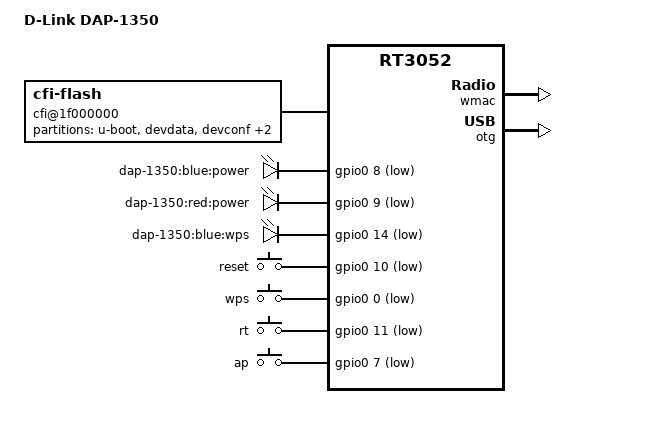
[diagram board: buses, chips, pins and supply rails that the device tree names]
/dts-v1/;

#include "rt3050.dtsi"

#include <dt-bindings/gpio/gpio.h>
#include <dt-bindings/input/input.h>

/ {
	compatible = "dlink,dap-1350", "ralink,rt3052-soc";
	model = "D-Link DAP-1350";

	aliases {
		led-boot = &led_power_blue;
		led-failsafe = &led_power_blue;
		led-running = &led_power_blue;
		led-upgrade = &led_power_blue;
	};

	chosen {
		bootargs = "console=ttyS0,115200";
	};

	cfi@1f000000 {
		compatible = "cfi-flash";
		reg = <0x1f000000 0x800000>;
		bank-width = <2>;
		device-width = <2>;

		partitions {
			compatible = "fixed-partitions";
			#address-cells = <1>;
			#size-cells = <1>;

			partition@0 {
				label = "u-boot";
				reg = <0x0 0x30000>;
				read-only;
			};

			devdata: partition@30000 {
				label = "devdata";
				reg = <0x30000 0x10000>;
				read-only;
			};

			partition@40000 {
				label = "devconf";
				reg = <0x40000 0x30000>;
				read-only;
			};

			partition@70000 {
				label = "devlang";
				reg = <0x70000 0x40000>;
				read-only;
			};

			partition@b0000 {
				compatible = "denx,uimage";
				label = "firmware";
				reg = <0xb0000 0x750000>;
			};
		};
	};

	leds {
		compatible = "gpio-leds";

		led_power_blue: power {
			label = "dap-1350:blue:power";
			gpios = <&gpio0 8 GPIO_ACTIVE_LOW>;
		};

		power2 {
			label = "dap-1350:red:power";
			gpios = <&gpio0 9 GPIO_ACTIVE_LOW>;
		};

		wps {
			label = "dap-1350:blue:wps";
			gpios = <&gpio0 14 GPIO_ACTIVE_LOW>;
		};
	};

	keys {
		compatible = "gpio-keys-polled";
		poll-interval = <20>;

		reset {
			label = "reset";
			gpios = <&gpio0 10 GPIO_ACTIVE_LOW>;
			linux,code = <KEY_RESTART>;
		};

		wps {
			label = "wps";
			gpios = <&gpio0 0 GPIO_ACTIVE_LOW>;
			linux,code = <KEY_WPS_BUTTON>;
		};

		rt {
			label = "rt";
			gpios = <&gpio0 11 GPIO_ACTIVE_LOW>;
			linux,code = <BTN_0>;
		};

		ap {
			label = "ap";
			gpios = <&gpio0 7 GPIO_ACTIVE_LOW>;
			linux,code = <BTN_1>;
		};
	};
};

&pinctrl {
	state_default: pinctrl0 {
		gpio {
			ralink,group = "spi", "i2c", "jtag", "rgmii", "mdio", "uartf";
			ralink,function = "gpio";
		};
	};
};

&ethernet {
	mtd-mac-address = <&devdata 0x2e>;
};

&esw {
	mediatek,portmap = <0x2f>;
};

&wmac {
	ralink,mtd-eeprom = <&devdata 0>;
};

&otg {
	status = "okay";
};
